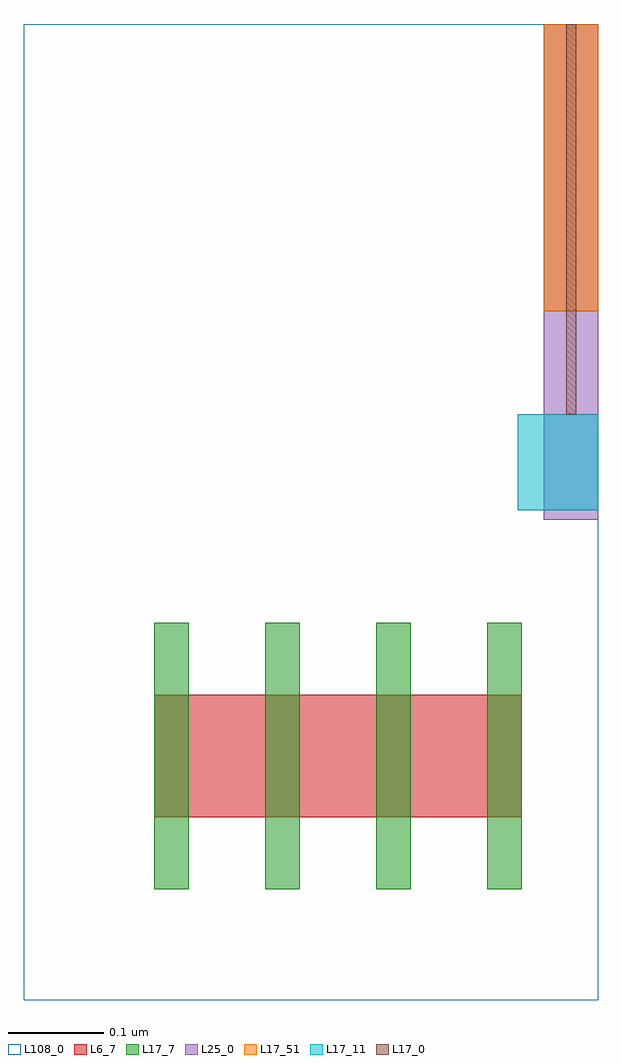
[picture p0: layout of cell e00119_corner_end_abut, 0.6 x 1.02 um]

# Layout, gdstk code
import gdstk
lib = gdstk.Library(unit=1e-6, precision=1e-09)
def R(c, l, rs):  # rectangles x0, y0, x1, y1
    for r in rs: c.add(gdstk.rectangle(r[:2], r[2:], *l))
L6_7 = (6, 7)
L17_0 = (17, 0)
L17_7 = (17, 7)
L17_11 = (17, 11)
L17_51 = (17, 51)
L25_0 = (25, 0)
L108_0 = (108, 0)

e00119_cell91_wb2 = lib.new_cell('e00119_Cell91_WB2')

e00119_cell81_wb1 = lib.new_cell('e00119_Cell81_WB1')

e00119_cell7_wb1 = lib.new_cell('e00119_Cell7_WB1')

e00119_cell4core_s9_wb2 = lib.new_cell('e00119_Cell4Core_S9_WB2')
R(e00119_cell4core_s9_wb2, L6_7, [(0,0,0.076,0.034)])
R(e00119_cell4core_s9_wb2, L17_7, [(0.04,0,0.076,0.109)])

e00119_cell4core_s8_wb2 = lib.new_cell('e00119_Cell4Core_S8_WB2')
R(e00119_cell4core_s8_wb2, L6_7, [(0,0,0.076,0.03)])
R(e00119_cell4core_s8_wb2, L17_7, [(0.04,0,0.076,0.03)])

e00119_cell4core_s6_wb2 = lib.new_cell('e00119_Cell4Core_S6_WB2')
R(e00119_cell4core_s6_wb2, L6_7, [(0,0,0.116,0.034)])
R(e00119_cell4core_s6_wb2, L17_7, [(0.04,0,0.076,0.109)])

e00119_cell4core_s3_wb2 = lib.new_cell('e00119_Cell4Core_S3_WB2')
R(e00119_cell4core_s3_wb2, L6_7, [(0,0.101,0.116,0.135)])
R(e00119_cell4core_s3_wb2, L17_7, [(0.04,0.026,0.076,0.135)])

e00119_cell4core_s12_wb2 = lib.new_cell('e00119_Cell4Core_S12_WB2')
R(e00119_cell4core_s12_wb2, L6_7, [(0.046,0.101,0.122,0.135)])
R(e00119_cell4core_s12_wb2, L17_7, [(0.046,0.026,0.082,0.135)])

e00119_cell4core_s11_wb2 = lib.new_cell('e00119_Cell4Core_S11_WB2')
R(e00119_cell4core_s11_wb2, L6_7, [(0,0.101,0.076,0.135)])
R(e00119_cell4core_s11_wb2, L17_7, [(0.04,0.026,0.076,0.135)])

e00119_cell4core_s10_wb2 = lib.new_cell('e00119_Cell4Core_S10_WB2')
R(e00119_cell4core_s10_wb2, L6_7, [(0.046,0,0.122,0.034)])
R(e00119_cell4core_s10_wb2, L17_7, [(0.046,0,0.082,0.109)])

e00119_cell4core_s1_wb2 = lib.new_cell('e00119_Cell4Core_S1_WB2')
R(e00119_cell4core_s1_wb2, L6_7, [(0.046,0,0.122,0.03)])
R(e00119_cell4core_s1_wb2, L17_7, [(0.046,0,0.082,0.03)])

e00119_cell4core_s0_wb2 = lib.new_cell('e00119_Cell4Core_S0_WB2')
R(e00119_cell4core_s0_wb2, L6_7, [(0,0,0.116,0.03)])
R(e00119_cell4core_s0_wb2, L17_7, [(0.04,0,0.076,0.03)])

e00119_wdm1v_s3_ca = lib.new_cell('e00119_WDM1V_S3_CA')

e00119_wdm1v_s1_ca_wb2 = lib.new_cell('e00119_WDM1V_S1_CA_WB2')

e00119_wdm1v_s0_ca_wb2 = lib.new_cell('e00119_WDM1V_S0_CA_WB2')

e00119_wdm1v_s3_cb = lib.new_cell('e00119_WDM1V_S3_CB')

e00119_wdm1v_s1_cb_wb2 = lib.new_cell('e00119_WDM1V_S1_CB_WB2')

e00119_wdm1v_s0_cb_wb2 = lib.new_cell('e00119_WDM1V_S0_CB_WB2')

e00119_wdm2h_s1_ca_wb1 = lib.new_cell('e00119_WDM2H_S1_CA_WB1')

e00119_wdm2h_s0_ca_wb2 = lib.new_cell('e00119_WDM2H_S0_CA_WB2')

e00119_wdm2h_s1_cb_wb1 = lib.new_cell('e00119_WDM2H_S1_CB_WB1')

e00119_wdm2h_s0_cb_wb2 = lib.new_cell('e00119_WDM2H_S0_CB_WB2')

e00119_wdm3v_s3_ca = lib.new_cell('e00119_WDM3V_S3_CA')

e00119_wdm3v_s1_ca_wb2 = lib.new_cell('e00119_WDM3V_S1_CA_WB2')

e00119_wdm3v_s0_ca_wb2 = lib.new_cell('e00119_WDM3V_S0_CA_WB2')

e00119_wdm3v_s3_cb = lib.new_cell('e00119_WDM3V_S3_CB')

e00119_wdm3v_s1_cb_wb2 = lib.new_cell('e00119_WDM3V_S1_CB_WB2')

e00119_wdm3v_s0_cb_wb2 = lib.new_cell('e00119_WDM3V_S0_CB_WB2')

e00119_wdmr4h_wb2 = lib.new_cell('e00119_WDMR4H_WB2')

e00119_wdmr5v_wb2 = lib.new_cell('e00119_WDMR5V_WB2')

e00119_dv1o_ca_wb2 = lib.new_cell('e00119_DV1O_CA_WB2')

e00119_dv1o_cb_wb2 = lib.new_cell('e00119_DV1O_CB_WB2')

e00119_dv2o_wb2 = lib.new_cell('e00119_DV2O_WB2')

e00119_dv0o_wb2 = lib.new_cell('e00119_DV0O_WB2')

e00119_wdm0h_s1_ca_wb1 = lib.new_cell('e00119_WDM0H_S1_CA_WB1')

e00119_wdm0h_s0_ca_wb2 = lib.new_cell('e00119_WDM0H_S0_CA_WB2')

e00119_wdm0h_s1_cb_wb1 = lib.new_cell('e00119_WDM0H_S1_CB_WB1')

e00119_wdm0h_s0_cb_wb2 = lib.new_cell('e00119_WDM0H_S0_CB_WB2')

e00119_corner_end_drc_ba = lib.new_cell('e00119_corner_end_drc_bac')
e00119_corner_end_drc_ba.add(gdstk.Reference(e00119_cell91_wb2, (0.489,0.502)))
r = gdstk.Reference(e00119_cell91_wb2, (0.225,0.502)); r.repetition = gdstk.Repetition(1, 3, v1=(0,0), v2=(0,0.18)); e00119_corner_end_drc_ba.add(r)
r = gdstk.Reference(e00119_cell81_wb1, (0.12,0.54)); r.repetition = gdstk.Repetition(1, 2, v1=(0,0), v2=(0,0.21)); e00119_corner_end_drc_ba.add(r)
r = gdstk.Reference(e00119_cell7_wb1, (0.289,0.532)); r.repetition = gdstk.Repetition(1, 2, v1=(0,0), v2=(0,0.184)); e00119_corner_end_drc_ba.add(r)
e00119_corner_end_drc_ba.add(gdstk.Reference(e00119_cell4core_s9_wb2, (0.444,0.285)))
r = gdstk.Reference(e00119_cell4core_s8_wb2, (0.444,0.225)); r.repetition = gdstk.Repetition(1, 2, v1=(0,0), v2=(0,0.03)); e00119_corner_end_drc_ba.add(r)
r = gdstk.Reference(e00119_cell4core_s6_wb2, (0.212,0.285)); r.repetition = gdstk.Repetition(2, 1, v1=(0.116,0), v2=(0,0)); e00119_corner_end_drc_ba.add(r)
r = gdstk.Reference(e00119_cell4core_s3_wb2, (0.212,0.09)); r.repetition = gdstk.Repetition(2, 1, v1=(0.116,0), v2=(0,0)); e00119_corner_end_drc_ba.add(r)
e00119_corner_end_drc_ba.add(gdstk.Reference(e00119_cell4core_s12_wb2, (0.09,0.09)))
e00119_corner_end_drc_ba.add(gdstk.Reference(e00119_cell4core_s11_wb2, (0.444,0.09)))
e00119_corner_end_drc_ba.add(gdstk.Reference(e00119_cell4core_s10_wb2, (0.09,0.285)))
r = gdstk.Reference(e00119_cell4core_s1_wb2, (0.09,0.225)); r.repetition = gdstk.Repetition(1, 2, v1=(0,0), v2=(0,0.03)); e00119_corner_end_drc_ba.add(r)
r = gdstk.Reference(e00119_cell4core_s0_wb2, (0.328,0.225)); r.repetition = gdstk.Repetition(1, 2, v1=(0,0), v2=(0,0.03)); e00119_corner_end_drc_ba.add(r)
r = gdstk.Reference(e00119_cell4core_s0_wb2, (0.212,0.225)); r.repetition = gdstk.Repetition(1, 2, v1=(0,0), v2=(0,0.03)); e00119_corner_end_drc_ba.add(r)
r = gdstk.Reference(e00119_wdm1v_s3_ca, (0.24,0.144)); r.repetition = gdstk.Repetition(2, 1, v1=(0.16,0), v2=(0,0)); e00119_corner_end_drc_ba.add(r)
e00119_corner_end_drc_ba.add(gdstk.Reference(e00119_wdm1v_s1_ca_wb2, (0.56,0.144)))
e00119_corner_end_drc_ba.add(gdstk.Reference(e00119_wdm1v_s0_ca_wb2, (0.56,0.43)))
e00119_corner_end_drc_ba.add(gdstk.Reference(e00119_wdm1v_s0_ca_wb2, (0.24,0.696)))
e00119_corner_end_drc_ba.add(gdstk.Reference(e00119_wdm1v_s0_ca_wb2, (0.4,0.696)))
r = gdstk.Reference(e00119_wdm1v_s3_cb, (0.16,0.144)); r.repetition = gdstk.Repetition(2, 1, v1=(0.16,0), v2=(0,0)); e00119_corner_end_drc_ba.add(r)
e00119_corner_end_drc_ba.add(gdstk.Reference(e00119_wdm1v_s1_cb_wb2, (0.48,0.144)))
e00119_corner_end_drc_ba.add(gdstk.Reference(e00119_wdm1v_s0_cb_wb2, (0.48,0.43)))
e00119_corner_end_drc_ba.add(gdstk.Reference(e00119_wdm1v_s0_cb_wb2, (0.16,0.696)))
e00119_corner_end_drc_ba.add(gdstk.Reference(e00119_wdm1v_s0_cb_wb2, (0.32,0.696)))
r = gdstk.Reference(e00119_wdm2h_s1_ca_wb1, (0.144,0.17)); r.repetition = gdstk.Repetition(1, 3, v1=(0,0), v2=(0,0.16)); e00119_corner_end_drc_ba.add(r)
r = gdstk.Reference(e00119_wdm2h_s0_ca_wb2, (0.29,0.65)); r.repetition = gdstk.Repetition(1, 2, v1=(0,0), v2=(0,0.16)); e00119_corner_end_drc_ba.add(r)
r = gdstk.Reference(e00119_wdm2h_s0_ca_wb2, (0.434,0.17)); r.repetition = gdstk.Repetition(1, 3, v1=(0,0), v2=(0,0.16)); e00119_corner_end_drc_ba.add(r)
r = gdstk.Reference(e00119_wdm2h_s0_ca_wb2, (0.144,0.65)); r.repetition = gdstk.Repetition(1, 2, v1=(0,0), v2=(0,0.16)); e00119_corner_end_drc_ba.add(r)
r = gdstk.Reference(e00119_wdm2h_s1_cb_wb1, (0.144,0.25)); r.repetition = gdstk.Repetition(1, 3, v1=(0,0), v2=(0,0.16)); e00119_corner_end_drc_ba.add(r)
r = gdstk.Reference(e00119_wdm2h_s0_cb_wb2, (0.144,0.73)); r.repetition = gdstk.Repetition(2, 1, v1=(0.146,0), v2=(0,0)); e00119_corner_end_drc_ba.add(r)
r = gdstk.Reference(e00119_wdm2h_s0_cb_wb2, (0.434,0.25)); r.repetition = gdstk.Repetition(1, 3, v1=(0,0), v2=(0,0.16)); e00119_corner_end_drc_ba.add(r)
r = gdstk.Reference(e00119_wdm3v_s3_ca, (0.24,0.144)); r.repetition = gdstk.Repetition(2, 1, v1=(0.16,0), v2=(0,0)); e00119_corner_end_drc_ba.add(r)
e00119_corner_end_drc_ba.add(gdstk.Reference(e00119_wdm3v_s1_ca_wb2, (0.56,0.144)))
e00119_corner_end_drc_ba.add(gdstk.Reference(e00119_wdm3v_s0_ca_wb2, (0.56,0.41)))
e00119_corner_end_drc_ba.add(gdstk.Reference(e00119_wdm3v_s0_ca_wb2, (0.24,0.696)))
e00119_corner_end_drc_ba.add(gdstk.Reference(e00119_wdm3v_s0_ca_wb2, (0.4,0.696)))
r = gdstk.Reference(e00119_wdm3v_s3_cb, (0.16,0.144)); r.repetition = gdstk.Repetition(2, 1, v1=(0.16,0), v2=(0,0)); e00119_corner_end_drc_ba.add(r)
e00119_corner_end_drc_ba.add(gdstk.Reference(e00119_wdm3v_s1_cb_wb2, (0.48,0.144)))
e00119_corner_end_drc_ba.add(gdstk.Reference(e00119_wdm3v_s0_cb_wb2, (0.48,0.41)))
e00119_corner_end_drc_ba.add(gdstk.Reference(e00119_wdm3v_s0_cb_wb2, (0.16,0.696)))
e00119_corner_end_drc_ba.add(gdstk.Reference(e00119_wdm3v_s0_cb_wb2, (0.32,0.696)))
e00119_corner_end_drc_ba.add(gdstk.Reference(e00119_wdmr4h_wb2, (0.172,0.769)))
r = gdstk.Reference(e00119_wdmr4h_wb2, (0.248,0.146)); r.repetition = gdstk.Repetition(1, 4, v1=(0,0), v2=(0,0.134)); e00119_corner_end_drc_ba.add(r)
r = gdstk.Reference(e00119_wdmr5v_wb2, (0.18,0.567)); r.repetition = gdstk.Repetition(3, 1, v1=(0.134,0), v2=(0,0)); e00119_corner_end_drc_ba.add(r)
r = gdstk.Reference(e00119_wdmr5v_wb2, (0.18,0.173)); r.repetition = gdstk.Repetition(4, 1, v1=(0.134,0), v2=(0,0)); e00119_corner_end_drc_ba.add(r)
e00119_corner_end_drc_ba.add(gdstk.Reference(e00119_dv1o_ca_wb2, (0.41,0.82)))
r = gdstk.Reference(e00119_dv1o_ca_wb2, (0.41,0.34)); r.repetition = gdstk.Repetition(1, 2, v1=(0,0), v2=(0,0.16)); e00119_corner_end_drc_ba.add(r)
r = gdstk.Reference(e00119_dv1o_ca_wb2, (0.25,0.18)); r.repetition = gdstk.Repetition(1, 2, v1=(0,0), v2=(0,0.48)); e00119_corner_end_drc_ba.add(r)
e00119_corner_end_drc_ba.add(gdstk.Reference(e00119_dv1o_cb_wb2, (0.25,0.82)))
r = gdstk.Reference(e00119_dv1o_cb_wb2, (0.41,0.18)); r.repetition = gdstk.Repetition(1, 2, v1=(0,0), v2=(0,0.48)); e00119_corner_end_drc_ba.add(r)
r = gdstk.Reference(e00119_dv1o_cb_wb2, (0.25,0.34)); r.repetition = gdstk.Repetition(1, 2, v1=(0,0), v2=(0,0.16)); e00119_corner_end_drc_ba.add(r)
r = gdstk.Reference(e00119_dv2o_wb2, (0.41,0.18)); r.repetition = gdstk.Repetition(1, 5, v1=(0,0), v2=(0,0.16)); e00119_corner_end_drc_ba.add(r)
r = gdstk.Reference(e00119_dv2o_wb2, (0.25,0.18)); r.repetition = gdstk.Repetition(1, 5, v1=(0,0), v2=(0,0.16)); e00119_corner_end_drc_ba.add(r)
r = gdstk.Reference(e00119_dv0o_wb2, (0.41,0.18)); r.repetition = gdstk.Repetition(1, 5, v1=(0,0), v2=(0,0.16)); e00119_corner_end_drc_ba.add(r)
r = gdstk.Reference(e00119_dv0o_wb2, (0.25,0.18)); r.repetition = gdstk.Repetition(1, 5, v1=(0,0), v2=(0,0.16)); e00119_corner_end_drc_ba.add(r)
r = gdstk.Reference(e00119_wdm0h_s1_ca_wb1, (0.144,0.17)); r.repetition = gdstk.Repetition(1, 3, v1=(0,0), v2=(0,0.16)); e00119_corner_end_drc_ba.add(r)
r = gdstk.Reference(e00119_wdm0h_s0_ca_wb2, (0.31,0.65)); r.repetition = gdstk.Repetition(1, 2, v1=(0,0), v2=(0,0.16)); e00119_corner_end_drc_ba.add(r)
r = gdstk.Reference(e00119_wdm0h_s0_ca_wb2, (0.434,0.17)); r.repetition = gdstk.Repetition(1, 3, v1=(0,0), v2=(0,0.16)); e00119_corner_end_drc_ba.add(r)
r = gdstk.Reference(e00119_wdm0h_s0_ca_wb2, (0.144,0.65)); r.repetition = gdstk.Repetition(1, 2, v1=(0,0), v2=(0,0.16)); e00119_corner_end_drc_ba.add(r)
r = gdstk.Reference(e00119_wdm0h_s1_cb_wb1, (0.144,0.25)); r.repetition = gdstk.Repetition(1, 3, v1=(0,0), v2=(0,0.16)); e00119_corner_end_drc_ba.add(r)
r = gdstk.Reference(e00119_wdm0h_s0_cb_wb2, (0.144,0.73)); r.repetition = gdstk.Repetition(2, 1, v1=(0.166,0), v2=(0,0)); e00119_corner_end_drc_ba.add(r)
r = gdstk.Reference(e00119_wdm0h_s0_cb_wb2, (0.434,0.25)); r.repetition = gdstk.Repetition(1, 3, v1=(0,0), v2=(0,0.16)); e00119_corner_end_drc_ba.add(r)

e00119_corner_end_abut = lib.new_cell('e00119_corner_end_abut')
R(e00119_corner_end_abut, L17_11, [(0.516,0.512,0.6,0.612)])
R(e00119_corner_end_abut, L17_51, [(0.543,0.72,0.6,1.02)])
R(e00119_corner_end_abut, L25_0, [(0.543,0.502,0.6,0.72), (0.543,0.72,0.6,1.02)])
R(e00119_corner_end_abut, L108_0, [(0,0,0.6,1.02)])
e00119_corner_end_abut.add(gdstk.FlexPath([(0.572,1.02),(0.572,0.612)], 0.01, ends="flush", simple_path=True, layer=17, datatype=0))  # L17_0
e00119_corner_end_abut.add(gdstk.Reference(e00119_corner_end_drc_ba, (0,0)))

lib.write_gds('e00119_corner_end_abut.gds')
